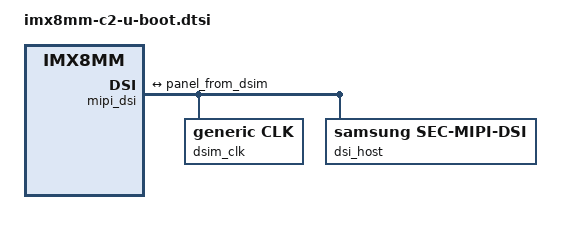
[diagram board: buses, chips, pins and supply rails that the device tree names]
// SPDX-License-Identifier: GPL-2.0+
/*
 * Copyright 2021 Boundary Devices LLC
 */

#define GP_SN65DSI83_IRQ <&gpio1 1 GPIO_ACTIVE_HIGH>

/ {
	wdt-reboot {
		compatible = "wdt-reboot";
		wdt = <&wdog1>;
		u-boot,dm-spl;
	};
};

&{/soc@0} {
	u-boot,dm-pre-reloc;
	u-boot,dm-spl;
};

&aips1 {
	u-boot,dm-spl;
	u-boot,dm-pre-reloc;
};

&aips2 {
	u-boot,dm-spl;
};

&aips3 {
	u-boot,dm-spl;
};

&clk {
	u-boot,dm-spl;
	u-boot,dm-pre-reloc;
	/delete-property/ assigned-clocks;
	/delete-property/ assigned-clock-parents;
	/delete-property/ assigned-clock-rates;
};

&gpio1 {
	u-boot,dm-spl;
};

&gpio2 {
	u-boot,dm-spl;
};

&gpio3 {
	u-boot,dm-spl;
};

&gpio4 {
	u-boot,dm-spl;
};

&gpio5 {
	u-boot,dm-spl;
};

&i2c1 {
	u-boot,dm-spl;
};

&iomuxc {
	u-boot,dm-spl;
};

&lcdif {
	display = <&fb_mipi>;
};

&mipi_dsi {
	fb_mipi: panel@0 {
		bits-per-pixel = <24>;
		bus-width = <24>;
		clocks = <&dsim_clk 0>,
			 <&clk IMX8MMN(CLK_LCDIF_PIXEL)>;

		mipi_to_lvds: mipi-to-lvds {
			interrupts-gpios = GP_SN65DSI83_IRQ;
		};

		port@1 {
			panel_from_dsim: endpoint {
				remote-endpoint = <&dsim_to_panel>;
			};
		};
	};

	dsim_clk: dsim-clk {
		#clock-cells = <1>;
		#size-cells = <0>;
		compatible = "generic,clk";
		clocks = <&clk IMX8MMN(CLK_DSI_PHY_REF)>;
		clock-names = "parent";
		clock-output-names = "dsim-clk";
		status = "okay";
	};

	dsi_host: dsi-host {
		compatible = "samsung,sec-mipi-dsi";
		clocks = <&dsim_clk 0>,
			 <&clk IMX8MMN(CLK_DSI_CORE)>,
			 <&clk IMX8MMN(CLK_DSI_PHY_REF)>,
			 <&clk IMX8MMN(CLK_LCDIF_PIXEL)>;
		clock-names = "dsim-clk", "cfg", "pll-ref", "pixel_clock";
		status = "okay";
	};

	port@1 {
		dsim_to_panel: endpoint {
			remote-endpoint = <&panel_from_dsim>;
		};
	};
};

&osc_24m {
	u-boot,dm-spl;
	u-boot,dm-pre-reloc;
};

&pinctrl_i2c1 {
	u-boot,dm-spl;
};

&pinctrl_uart2 {
	u-boot,dm-spl;
};

&pinctrl_usbotg1 {
	u-boot,dm-spl;
};

&pinctrl_usdhc1 {
	u-boot,dm-spl;
};

&pinctrl_usdhc1_100mhz {
	u-boot,dm-spl;
};

&pinctrl_usdhc1_200mhz {
	u-boot,dm-spl;
};

&pinctrl_usdhc3 {
	u-boot,dm-spl;
};

&reg_vref_1v8 {
	u-boot,dm-spl;
};

&reg_vref_3v3 {
	u-boot,dm-spl;
};

&uart2 {
	u-boot,dm-spl;
};

&uart3 {
	status = "disabled";
};

&usbmisc1 {
	u-boot,dm-spl;
};

&usbmisc2 {
	u-boot,dm-spl;
};

&usbotg1 {
	/delete-property/ vbus-supply;
	u-boot,dm-spl;
};

&usbphynop1 {
	u-boot,dm-spl;
};

&usbphynop2 {
	u-boot,dm-spl;
};

&usdhc1 {
	u-boot,dm-spl;
};

&usdhc2 {
	u-boot,dm-spl;
};

&usdhc3 {
	u-boot,dm-spl;
};

&wdog1 {
	u-boot,dm-spl;
};
